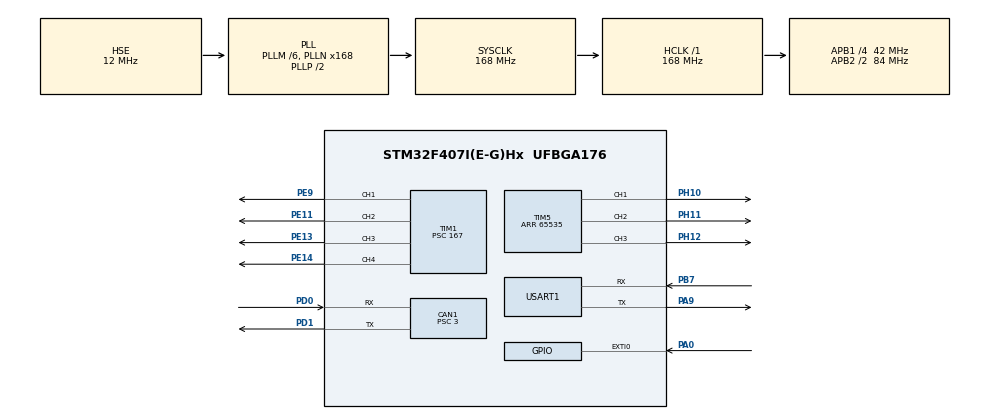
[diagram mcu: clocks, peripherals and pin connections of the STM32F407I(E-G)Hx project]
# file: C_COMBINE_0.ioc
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CAN1.BS1=CAN_BS1_10TQ
CAN1.BS2=CAN_BS2_3TQ
CAN1.CalculateBaudRate=1000000
CAN1.CalculateTimeBit=1000
CAN1.CalculateTimeQuantum=71.42857142857143
CAN1.Prescaler=3
Dma.Request0=USART1_TX
Dma.Request1=USART1_RX
Dma.USART1_RX.1.Direction=DMA_PERIPH_TO_MEMORY
Dma.USART1_RX.1.FIFOMode=DMA_FIFOMODE_DISABLE
Dma.USART1_RX.1.Instance=DMA2_Stream2
Dma.USART1_RX.1.MemDataAlignment=DMA_MDATAALIGN_BYTE
Dma.USART1_RX.1.MemInc=DMA_MINC_ENABLE
Dma.USART1_RX.1.Mode=DMA_NORMAL
Dma.USART1_RX.1.PeriphDataAlignment=DMA_PDATAALIGN_BYTE
Dma.USART1_RX.1.PeriphInc=DMA_PINC_DISABLE
Dma.USART1_RX.1.Priority=DMA_PRIORITY_LOW
Dma.USART1_TX.0.Direction=DMA_MEMORY_TO_PERIPH
Dma.USART1_TX.0.FIFOMode=DMA_FIFOMODE_DISABLE
Dma.USART1_TX.0.Instance=DMA2_Stream7
Dma.USART1_TX.0.MemDataAlignment=DMA_MDATAALIGN_BYTE
Dma.USART1_TX.0.MemInc=DMA_MINC_ENABLE
Dma.USART1_TX.0.Mode=DMA_NORMAL
Dma.USART1_TX.0.PeriphDataAlignment=DMA_PDATAALIGN_BYTE
Dma.USART1_TX.0.PeriphInc=DMA_PINC_DISABLE
Dma.USART1_TX.0.Priority=DMA_PRIORITY_LOW
FREERTOS.Tasks01=PID,24,128,PID_control,Default,NULL,Dynamic,NULL,NULL;servo,8,128,PWM_servo,Default,NULL,Dynamic,NULL,NULL;PWM,8,128,PWM_LED,Default,NULL,Dynamic,NULL,NULL;USART_RX,8,128,USART_motor_RX,Default,NULL,Dynamic,NULL,NULL
FREERTOS.configGENERATE_RUN_TIME_STATS=1
FREERTOS.configRECORD_STACK_HIGH_ADDRESS=1
Mcu.Family=STM32F4
Mcu.Name=STM32F407I(E-G)Hx
Mcu.Package=UFBGA176
NVIC.CAN1_RX0_IRQn=true\:5\:0\:false\:false\:true\:true\:true\:true\:true
NVIC.CAN1_RX1_IRQn=true\:5\:0\:false\:false\:true\:true\:true\:true\:true
NVIC.DMA2_Stream2_IRQn=true\:5\:0\:false\:false\:true\:true\:false\:true\:true
NVIC.DMA2_Stream7_IRQn=true\:5\:0\:false\:false\:true\:true\:false\:true\:true
NVIC.EXTI0_IRQn=true\:0\:0\:false\:false\:true\:false\:true\:true\:true
NVIC.PriorityGroup=NVIC_PRIORITYGROUP_4
NVIC.TIM4_IRQn=true\:15\:0\:false\:false\:true\:false\:false\:true\:true
NVIC.TimeBase=TIM4_IRQn
NVIC.TimeBaseIP=TIM4
NVIC.USART1_IRQn=true\:5\:0\:false\:false\:true\:true\:true\:true\:true
PA0-WKUP.Signal=GPXTI0
PA13.Mode=Serial_Wire
PA13.Signal=SYS_JTMS-SWDIO
PA14.Mode=Serial_Wire
PA14.Signal=SYS_JTCK-SWCLK
PA9.Mode=Asynchronous
PA9.Signal=USART1_TX
PB7.Mode=Asynchronous
PB7.Signal=USART1_RX
PD0.Mode=CAN_Activate
PD0.Signal=CAN1_RX
PD1.Mode=CAN_Activate
PD1.Signal=CAN1_TX
PE11.Signal=S_TIM1_CH2
PE13.Signal=S_TIM1_CH3
PE14.Signal=S_TIM1_CH4
PE9.Signal=S_TIM1_CH1
PH0-OSC_IN.Mode=HSE-External-Oscillator
PH0-OSC_IN.Signal=RCC_OSC_IN
PH1-OSC_OUT.Mode=HSE-External-Oscillator
PH1-OSC_OUT.Signal=RCC_OSC_OUT
PH10.Signal=S_TIM5_CH1
PH11.Signal=S_TIM5_CH2
PH12.Signal=S_TIM5_CH3
ProjectManager.HeapSize=0x200
ProjectManager.StackSize=0x400
ProjectManager.TargetToolchain=CMake
RCC.48MHZClocksFreq_Value=84000000
RCC.AHBFreq_Value=168000000
RCC.APB1CLKDivider=RCC_HCLK_DIV4
RCC.APB1Freq_Value=42000000
RCC.APB1TimFreq_Value=84000000
RCC.APB2CLKDivider=RCC_HCLK_DIV2
RCC.APB2Freq_Value=84000000
RCC.APB2TimFreq_Value=168000000
RCC.CortexFreq_Value=168000000
RCC.HCLKFreq_Value=168000000
RCC.HSE_VALUE=12000000
RCC.HSI_VALUE=16000000
RCC.LSE_VALUE=32768
RCC.PLLM=6
RCC.PLLN=168
RCC.PLLSourceVirtual=RCC_PLLSOURCE_HSE
RCC.SYSCLKFreq_VALUE=168000000
RCC.SYSCLKSource=RCC_SYSCLKSOURCE_PLLCLK
RCC.VCOOutputFreq_Value=336000000
SH.S_TIM1_CH1.0=TIM1_CH1,PWM Generation1 CH1
SH.S_TIM1_CH2.0=TIM1_CH2,PWM Generation2 CH2
SH.S_TIM1_CH3.0=TIM1_CH3,PWM Generation3 CH3
SH.S_TIM1_CH4.0=TIM1_CH4,PWM Generation4 CH4
SH.S_TIM5_CH1.0=TIM5_CH1,PWM Generation1 CH1
SH.S_TIM5_CH2.0=TIM5_CH2,PWM Generation2 CH2
SH.S_TIM5_CH3.0=TIM5_CH3,PWM Generation3 CH3
TIM1.Channel-PWM\ Generation1\ CH1=TIM_CHANNEL_1
TIM1.Channel-PWM\ Generation2\ CH2=TIM_CHANNEL_2
TIM1.Channel-PWM\ Generation3\ CH3=TIM_CHANNEL_3
TIM1.Channel-PWM\ Generation4\ CH4=TIM_CHANNEL_4
TIM1.Prescaler=167
TIM5.Channel-PWM\ Generation1\ CH1=TIM_CHANNEL_1
TIM5.Channel-PWM\ Generation2\ CH2=TIM_CHANNEL_2
TIM5.Channel-PWM\ Generation3\ CH3=TIM_CHANNEL_3
TIM5.Period=65535
USART1.VirtualMode=VM_ASYNC
VP_FREERTOS_VS_CMSIS_V2.Mode=CMSIS_V2
VP_SYS_VS_tim4.Mode=TIM4
VP_TIM5_VS_ClockSourceINT.Mode=Internal
board=custom

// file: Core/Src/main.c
/* USER CODE BEGIN Header */
/**
  ******************************************************************************
  * @file           : main.c
  * @brief          : Main program body
  ******************************************************************************
  * @attention
  *
  * Copyright (c) 2026 STMicroelectronics.
  * All rights reserved.
  *
  * This software is licensed under terms that can be found in the LICENSE file
  * in the root directory of this software component.
  * If no LICENSE file comes with this software, it is provided AS-IS.
  *
  ******************************************************************************
  */
/* USER CODE END Header */
#include "main.h"
#include "cmsis_os.h"
#include "can.h"
#include "dma.h"
#include "tim.h"
#include "usart.h"
#include "gpio.h"

/* USER CODE BEGIN Includes */
#include "motor_rx.h"
#include "string.h"
/* USER CODE END Includes */

void SystemClock_Config(void);
void MX_FREERTOS_Init(void);

int main(void)
{

  /* MCU Configuration--------------------------------------------------------*/

  /* Reset of all peripherals, Initializes the Flash interface and the Systick. */
  HAL_Init();

  /* Configure the system clock */
  SystemClock_Config();

  /* Initialize all configured peripherals */
  MX_GPIO_Init();
  MX_DMA_Init();
  MX_CAN1_Init();
  MX_TIM1_Init();
  MX_TIM5_Init();
  MX_USART1_UART_Init();

  /* Init scheduler */
  osKernelInitialize();  /* Call init function for freertos objects (in cmsis_os2.c) */
  MX_FREERTOS_Init();

  /* Start scheduler */
  osKernelStart();

  /* We should never get here as control is now taken by the scheduler */

  /* Infinite loop */
  while (1)
  {

  }
}

void SystemClock_Config(void)
{
  RCC_OscInitTypeDef RCC_OscInitStruct = {0};
  RCC_ClkInitTypeDef RCC_ClkInitStruct = {0};

  /** Configure the main internal regulator output voltage
  */
  __HAL_RCC_PWR_CLK_ENABLE();
  __HAL_PWR_VOLTAGESCALING_CONFIG(PWR_REGULATOR_VOLTAGE_SCALE1);

  /** Initializes the RCC Oscillators according to the specified parameters
  * in the RCC_OscInitTypeDef structure.
  */
  RCC_OscInitStruct.OscillatorType = RCC_OSCILLATORTYPE_HSE;
  RCC_OscInitStruct.HSEState = RCC_HSE_ON;
  RCC_OscInitStruct.PLL.PLLState = RCC_PLL_ON;
  RCC_OscInitStruct.PLL.PLLSource = RCC_PLLSOURCE_HSE;
  RCC_OscInitStruct.PLL.PLLM = 6;
  RCC_OscInitStruct.PLL.PLLN = 168;
  RCC_OscInitStruct.PLL.PLLP = RCC_PLLP_DIV2;
  RCC_OscInitStruct.PLL.PLLQ = 4;
  if (HAL_RCC_OscConfig(&RCC_OscInitStruct) != HAL_OK)
  {
    Error_Handler();
  }

  /** Initializes the CPU, AHB and APB buses clocks
  */
  RCC_ClkInitStruct.ClockType = RCC_CLOCKTYPE_HCLK|RCC_CLOCKTYPE_SYSCLK
                              |RCC_CLOCKTYPE_PCLK1|RCC_CLOCKTYPE_PCLK2;
  RCC_ClkInitStruct.SYSCLKSource = RCC_SYSCLKSOURCE_PLLCLK;
  RCC_ClkInitStruct.AHBCLKDivider = RCC_SYSCLK_DIV1;
  RCC_ClkInitStruct.APB1CLKDivider = RCC_HCLK_DIV4;
  RCC_ClkInitStruct.APB2CLKDivider = RCC_HCLK_DIV2;

  if (HAL_RCC_ClockConfig(&RCC_ClkInitStruct, FLASH_LATENCY_5) != HAL_OK)
  {
    Error_Handler();
  }
}

void HAL_TIM_PeriodElapsedCallback(TIM_HandleTypeDef *htim)
{
  if (htim->Instance == TIM4)
  {
    HAL_IncTick();
  }
}

void Error_Handler(void)
{
  __disable_irq();
  while (1)
  {
  }
}

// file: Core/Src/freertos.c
/* USER CODE BEGIN Header */
/**
  ******************************************************************************
  * File Name          : freertos.c
  * Description        : Code for freertos applications
  ******************************************************************************
  * @attention
  *
  * Copyright (c) 2026 STMicroelectronics.
  * All rights reserved.
  *
  * This software is licensed under terms that can be found in the LICENSE file
  * in the root directory of this software component.
  * If no LICENSE file comes with this software, it is provided AS-IS.
  *
  ******************************************************************************
  */
/* USER CODE END Header */

#include "FreeRTOS.h"
#include "cmsis_os.h"

/* USER CODE BEGIN Includes */
#include <stdio.h>
#include <string.h>

#include "can.h"
#include "PID.h"
#include "stm32f4xx_hal.h"
#include "tim.h"
#include "usart_user.h"
#include "KEY.h"
#include "motor_rx.h"
#include "PWM_LED.h"
#include "usart.h"
/* USER CODE END Includes */

/* Definitions for PID */
osThreadId_t PIDHandle;
const osThreadAttr_t PID_attributes = {
  .name = "PID",
  .stack_size = 128 * 4,
  .priority = (osPriority_t) osPriorityNormal,
};
/* Definitions for servo */
osThreadId_t servoHandle;
const osThreadAttr_t servo_attributes = {
  .name = "servo",
  .stack_size = 128 * 4,
  .priority = (osPriority_t) osPriorityLow,
};
/* Definitions for PWM */
osThreadId_t PWMHandle;
const osThreadAttr_t PWM_attributes = {
  .name = "PWM",
  .stack_size = 128 * 4,
  .priority = (osPriority_t) osPriorityLow,
};
/* Definitions for USART_RX */
osThreadId_t USART_RXHandle;
const osThreadAttr_t USART_RX_attributes = {
  .name = "USART_RX",
  .stack_size = 128 * 4,
  .priority = (osPriority_t) osPriorityLow,
};

void PID_control(void *argument);
void PWM_servo(void *argument);
void PWM_LED(void *argument);
void USART_motor_RX(void *argument);

void MX_FREERTOS_Init(void); /* (MISRA C 2004 rule 8.1) */

/* Hook prototypes */
void configureTimerForRunTimeStats(void);
unsigned long getRunTimeCounterValue(void);

/* USER CODE BEGIN 1 */
/* Functions needed when configGENERATE_RUN_TIME_STATS is on */
__weak void configureTimerForRunTimeStats(void)
{

}

__weak unsigned long getRunTimeCounterValue(void)
{
return 0;
}
/* USER CODE END 1 */

void MX_FREERTOS_Init(void) {

  /* Create the thread(s) */
  /* creation of PID */
  PIDHandle = osThreadNew(PID_control, NULL, &PID_attributes);

  /* creation of servo */
  servoHandle = osThreadNew(PWM_servo, NULL, &servo_attributes);

  /* creation of PWM */
  PWMHandle = osThreadNew(PWM_LED, NULL, &PWM_attributes);

  /* creation of USART_RX */
  USART_RXHandle = osThreadNew(USART_motor_RX, NULL, &USART_RX_attributes);

}

void PID_control(void *argument)
{
  /* USER CODE BEGIN PID_control */
  CAN_Init(&hcan1, 0);
  HAL_CAN_Start(&hcan1);
  PID_Init(&Speed_PID, speed_kp, speed_ki, speed_kd);
  //PID_Init(&Position_PID, position_kp, position_ki, position_kd);
  HAL_CAN_ActivateNotification(&hcan1, CAN_IT_RX_FIFO0_MSG_PENDING);
  /* Infinite loop */
  for(;;)
  {
    HAL_UARTEx_ReceiveToIdle_DMA(&huart1, (uint8_t*)receive_message, sizeof(receive_message));
    sscanf(receive_message, "motor%d", &target_speed);
    //a = target_speed;
    Control_Loop(target_speed);
    osDelay(1);
  }
  /* USER CODE END PID_control */
}

void PWM_servo(void *argument)
{
  /* USER CODE BEGIN PWM_servo */
  HAL_TIM_Base_Start(&htim1);
  HAL_TIM_PWM_Start(&htim1, TIM_CHANNEL_1);
  HAL_TIM_PWM_Start(&htim1, TIM_CHANNEL_2);
  HAL_TIM_PWM_Start(&htim1, TIM_CHANNEL_3);
  HAL_TIM_PWM_Start(&htim1, TIM_CHANNEL_4);
  __HAL_TIM_SET_COMPARE(&htim1, TIM_CHANNEL_1, 500);
  __HAL_TIM_SET_COMPARE(&htim1, TIM_CHANNEL_2, 500);
  __HAL_TIM_SET_COMPARE(&htim1, TIM_CHANNEL_3, 500);
  __HAL_TIM_SET_COMPARE(&htim1, TIM_CHANNEL_4, 500);
  /* Infinite loop */
  for(;;)
  { if (KEY_state == 1) {
    osDelay(20);
    if (HAL_GPIO_ReadPin(GPIOA, GPIO_PIN_0) == GPIO_PIN_RESET)
    { KEY_state = 0;
      angle += distance * 222;
      __HAL_TIM_SET_COMPARE(&htim1, TIM_CHANNEL_1, angle);
    }

    if (angle >= 2450)
    {
      angle = 2450;
      distance = -1;
    }
    if (angle <= 500) {
      angle = 500;
      distance = 1;
    }
  }
    osDelay(10);
  }
  /* USER CODE END PWM_servo */
}

void PWM_LED(void *argument)
{
  /* USER CODE BEGIN PWM_LED */
  uint32_t inter = 0;
  HAL_TIM_Base_Start(&htim5);
  HAL_TIM_PWM_Start(&htim5, TIM_CHANNEL_3);
  /* Infinite loop */
  for(;;)
  { inter = HAL_GetTick() - last_feed;
    //counter = __HAL_TIM_GET_COUNTER(&htim5);
    if (inter > 1000) {
      PID_reset(&Speed_PID);
      __HAL_TIM_SET_COMPARE(&htim5, TIM_CHANNEL_3, brightness);
      brightness += direct * 30;

      if (brightness >= 30000) {
        brightness = 30000;
        direct = -1;
      }
      if (brightness < 0) {
        brightness = 0;
        direct = 1;
      }
    }else {
      __HAL_TIM_SET_COMPARE(&htim5, TIM_CHANNEL_3, 0);
    }
    osDelay(1);
  }
  /* USER CODE END PWM_LED */
}

void USART_motor_RX(void *argument)
{
  /* USER CODE BEGIN USART_motor_RX */
  CAN_Init(&hcan1, 0);
  HAL_CAN_Start(&hcan1);
  HAL_CAN_ActivateNotification(&hcan1, CAN_IT_RX_FIFO0_MSG_PENDING);
  HAL_UART_Transmit(&huart1, (uint8_t*)"Hello\r\n", 7, 1000);

  /* Infinite loop */
  for(;;)
  {
    sprintf(message, "电机转速: %drpm\r\n", gimbal.speed_rpm);
    HAL_UART_Transmit_DMA(&huart1,(uint8_t*)message,strlen(message));
    osDelay(2000);
  }
  /* USER CODE END USART_motor_RX */
}
